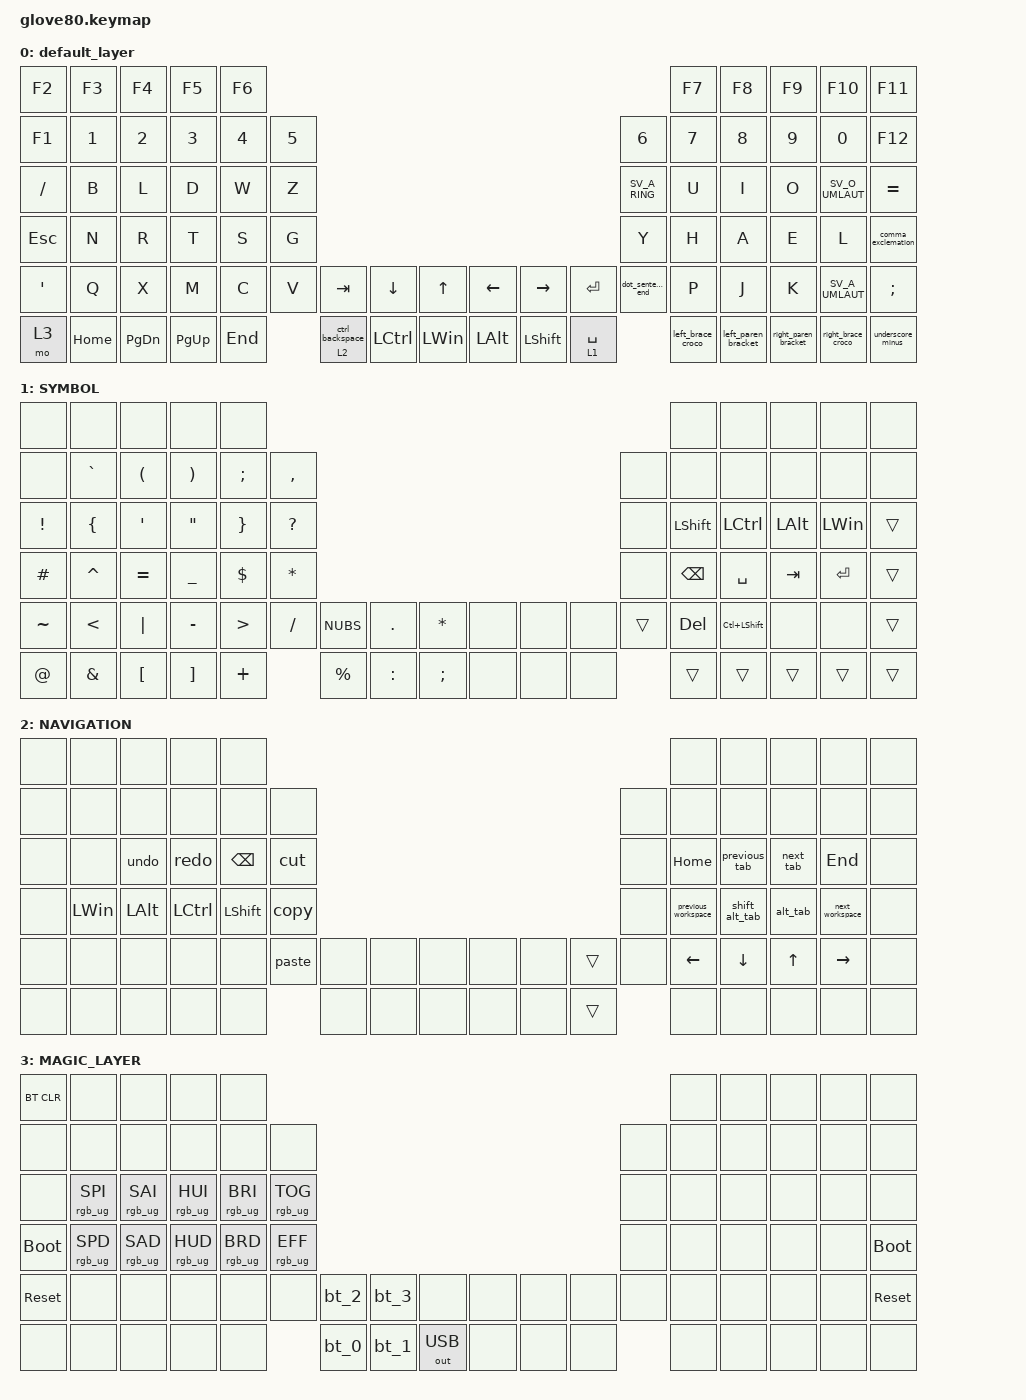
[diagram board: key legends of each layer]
/*
 * Copyright (c) 2020 The ZMK Contributors
 *
 * SPDX-License-Identifier: MIT
 */

#include "keys_sv.h"
#include <behaviors.dtsi>
#include <dt-bindings/zmk/bt.h>
#include <dt-bindings/zmk/keys.h>
#include <dt-bindings/zmk/outputs.h>
#include <dt-bindings/zmk/rgb.h>

// layers

#define DEFAULT 0
#define LOWER 1
#define MAGIC 2

/ {
    behaviors {
        // For the "layer" key, it'd nice to be able to use it as either a shift or a toggle.
        // Configure it as a tap dance, so the first tap (or hold) is a &mo and the second tap is a &to

        layer_td: tap_dance_0 {
            compatible = "zmk,behavior-tap-dance";
            #binding-cells = <0>;
            tapping-term-ms = <200>;
            bindings = <&mo 0>, <&to 0>;
        };

        ctrl_backspace: ctrl_backspace {
            compatible = "zmk,behavior-mod-morph";
            label = "CTRL_BACKSPACE";
            bindings = <&kp LC(BACKSPACE)>, <&kp BACKSPACE>;

            #binding-cells = <0>;
            mods = <(MOD_LSFT)>;
        };

        dot_sentence_end: dot_sentence_end {
            compatible = "zmk,behavior-mod-morph";
            label = "DOT_SENTENCE_END";
            bindings = <&kp DOT>, <&sentence_end>;

            #binding-cells = <0>;
            mods = <(MOD_LSFT|MOD_LCTL)>;
        };

        backspace_nav: backspace_nav {
            compatible = "zmk,behavior-hold-tap";
            label = "BACKSPACE_NAV";
            bindings = <&mo>, <&ctrl_backspace>;

            #binding-cells = <2>;
            tapping-term-ms = <280>;
            hold-trigger-key-positions = <69>;
            flavor = "balanced";
            quick-tap-ms = <175>;
            require-prior-idle-ms = <150>;
            hold-trigger-on-release;
        };

        next_window_K: next_window_K {
            compatible = "zmk,behavior-mod-morph";
            label = "NEXT_WINDOW_K";
            bindings = <&kp K>, <&alt_tab>;

            #binding-cells = <0>;
            mods = <(MOD_LGUI)>;
        };

        previous_window_J: previous_window_J {
            compatible = "zmk,behavior-mod-morph";
            label = "PREVIOUS_WINDOW_J";
            bindings = <&kp J>, <&shift_alt_tab>;

            #binding-cells = <0>;
            mods = <(MOD_LGUI)>;
        };

        underscore_minus: underscore_minus {
            compatible = "zmk,behavior-mod-morph";
            label = "UNDERSCORE_MINUS";
            bindings = <&kp UNDERSCORE>, <&kp KP_MINUS>;

            #binding-cells = <0>;
            mods = <(MOD_LSFT)>;
        };

        parenthesis_previous_tab: parenthesis_previous_tab {
            compatible = "zmk,behavior-mod-morph";
            label = "PARENTHESIS_PREVIOUS_TAB";
            bindings = <&kp LPAR>, <&previous_tab>;

            #binding-cells = <0>;
            mods = <(MOD_LSFT)>;
        };

        parenthesis_next_tab: parenthesis_next_tab {
            compatible = "zmk,behavior-mod-morph";
            label = "PARENTHESIS_NEXT_TAB";
            bindings = <&kp RPAR>, <&next_tab>;

            #binding-cells = <0>;
            mods = <(MOD_LSFT)>;
        };

        comma_exclemation: comma_exclemation {
            compatible = "zmk,behavior-mod-morph";
            label = "COMMA_EXCLEMATION";
            bindings = <&kp COMMA>, <&kp EXCLAMATION>;

            #binding-cells = <0>;
            mods = <(MOD_LSFT)>;
        };

        previous_window_bracket: previous_window_bracket {
            compatible = "zmk,behavior-mod-morph";
            label = "PREVIOUS_WINDOW_BRACKET";
            bindings = <&kp LEFT_BRACE>, <&previous_window_J>;

            #binding-cells = <0>;
            mods = <(MOD_LSFT)>;
        };

        left_paren_bracket: left_paren_bracket {
            compatible = "zmk,behavior-mod-morph";
            label = "LEFT_PAREN_BRACKET";
            bindings = <&kp LPAR>, <&kp LBKT>;

            #binding-cells = <0>;
            mods = <(MOD_LCTL|MOD_LSFT)>;
        };

        right_paren_bracket: right_paren_bracket {
            compatible = "zmk,behavior-mod-morph";
            label = "RIGHT_PAREN_BRACKET";
            bindings = <&kp RPAR>, <&kp RBKT>;

            #binding-cells = <0>;
            mods = <(MOD_LSFT|MOD_LCTL)>;
        };

        left_brace_croco: left_brace_croco {
            compatible = "zmk,behavior-mod-morph";
            label = "LEFT_BRACE_CROCO";
            bindings = <&kp LBRC>, <&kp LT>;

            #binding-cells = <0>;
            mods = <(MOD_LSFT|MOD_LCTL)>;
        };

        right_brace_croco: right_brace_croco {
            compatible = "zmk,behavior-mod-morph";
            label = "RIGHT_BRACE_CROCO";
            bindings = <&kp RBRC>, <&kp GT>;

            #binding-cells = <0>;
            mods = <(MOD_LSFT|MOD_LCTL)>;
        };
    };

    macros {
        bt_0: bt_profile_macro_0 {
            compatible = "zmk,behavior-macro";
            #binding-cells = <0>;
            bindings = <&out OUT_BLE &bt BT_SEL 0>;
        };

        bt_1: bt_profile_macro_1 {
            compatible = "zmk,behavior-macro";
            #binding-cells = <0>;
            bindings = <&out OUT_BLE &bt BT_SEL 1>;
        };

        bt_2: bt_profile_macro_2 {
            compatible = "zmk,behavior-macro";
            #binding-cells = <0>;
            bindings = <&out OUT_BLE &bt BT_SEL 2>;
        };

        bt_3: bt_profile_macro_3 {
            compatible = "zmk,behavior-macro";
            #binding-cells = <0>;
            bindings = <&out OUT_BLE &bt BT_SEL 3>;
        };

        sentence_end: sentence_end {
            compatible = "zmk,behavior-macro";
            #binding-cells = <0>;
            bindings = <&kp DOT &kp SPACE &sk LEFT_SHIFT>;
            label = "SENTENCE_END";
        };

        alt_tab: alt_tab {
            compatible = "zmk,behavior-macro";
            #binding-cells = <0>;
            bindings = <&kp LEFT_ALT &kp TAB>;
            label = "ALT_TAB";
        };

        shift_alt_tab: shift_alt_tab {
            compatible = "zmk,behavior-macro";
            #binding-cells = <0>;
            bindings = <&kp LEFT_SHIFT &kp LEFT_ALT &kp TAB>;
            label = "SHIFT_ALT_TAB";
        };

        copy: copy {
            compatible = "zmk,behavior-macro";
            #binding-cells = <0>;
            bindings = <&kp LCTRL &kp C>;
            label = "COPY";
        };

        cut: cut {
            compatible = "zmk,behavior-macro";
            #binding-cells = <0>;
            bindings = <&kp LCTRL &kp X>;
            label = "CUT";
        };

        paste: paste {
            compatible = "zmk,behavior-macro";
            #binding-cells = <0>;
            bindings = <&kp LCTRL &kp V>;
            label = "PASTE";
        };

        undo: undo {
            compatible = "zmk,behavior-macro";
            #binding-cells = <0>;
            bindings = <&kp LCTRL &kp Z>;
            label = "UNDO";
        };

        redo: redo {
            compatible = "zmk,behavior-macro";
            #binding-cells = <0>;
            bindings = <&kp LCTRL &kp Y>;
            label = "REDO";
        };

        next_workspace: next_workspace {
            compatible = "zmk,behavior-macro";
            #binding-cells = <0>;
            bindings = <&kp LCTRL &kp LEFT_WIN &kp RIGHT>;
            label = "NEXT_WORKSPACE";
        };

        previous_workspace: previous_workspace {
            compatible = "zmk,behavior-macro";
            #binding-cells = <0>;
            bindings = <&kp LCTRL &kp LEFT_WIN &kp LEFT_ARROW>;
            label = "PREVIOUS_WORKSPACE";
        };

        next_tab: next_tab {
            compatible = "zmk,behavior-macro";
            #binding-cells = <0>;
            bindings = <&kp LCTRL &kp TAB>;
            label = "NEXT_TAB";
        };

        previous_tab: previous_tab {
            compatible = "zmk,behavior-macro";
            #binding-cells = <0>;
            bindings = <&kp LCTRL &kp LEFT_SHIFT &kp TAB>;
            label = "PREVIOUS_TAB";
        };
    };

    keymap {
        compatible = "zmk,keymap";

        default_layer {
            // ---------------------------------------------------------------------------------------------------------------------------------
            // |  F1   |  F2 |  F3 |  F4  |  F5  |                                                               |  F6   |  F7   |  F8  |   F9  |  F10 |
            // |  =    |  1  |  2  |  3   |  4   |  5   |                                                 |  6   |   7   |   8   |  9   |   0   |   -  |
            // |  TAB  |  Q  |  W  |  E   |  R   |  T   |                                                 |  Y   |   U   |   I   |  O   |   P   |   \  |
            // |  ESC  |  A  |  S  |  D   |  F   |  G   |                                                 |  H   |   J   |   K   |  L   |   ;   |   '  |
            // |   `   |  Z  |  X  |  C   |  V   |  B   | LSHFT | LCTRL | LOWER | | LGUI  | RCTRL | RSHFT |  N   |   M   |   ,   |  .   |   /   | PGUP |
            // | MAGIC | HOME| END | LEFT | RIGHT|      | BSPC  | DEL   | LALT  | | RALT  | RET   | SPACE |      |  UP   | DOWN  |  [   |   ]   | PGDN |

            bindings = <
&kp F2            &kp F3        &kp F4         &kp F5       &kp F6                                                                                                                                 &kp F7             &kp F8               &kp F9                &kp F10             &kp F11
&kp F1            &kp NUMBER_1  &kp N2         &kp N3       &kp N4   &kp N5                                                                                                     &kp N6             &kp N7             &kp N8               &kp N9                &kp N0              &kp F12
&kp SLASH         &kp B         &kp L          &kp D        &kp W    &kp Z                                                                                                      &kp SV_A_RING      &kp U              &kp I                &kp O                 &kp SV_O_UMLAUT     &kp EQUAL
&kp ESC           &kp N         &kp R          &kp T        &kp S    &kp G                                                                                                      &kp Y              &kp H              &kp A                &kp E                 &kp L               &comma_exclemation
&kp SINGLE_QUOTE  &kp Q         &kp X          &kp M        &kp C    &kp V   &kp TAB             &kp DOWN          &kp UP          &kp LEFT_ARROW  &kp RIGHT       &kp ENTER    &dot_sentence_end  &kp P              &kp J                &kp K                 &kp SV_A_UMLAUT     &kp SEMI
&mo 3             &kp HOME      &kp PAGE_DOWN  &kp PAGE_UP  &kp END          &backspace_nav 2 0  &kp LEFT_CONTROL  &kp LEFT_WIN    &kp LEFT_ALT    &kp LEFT_SHIFT  &lt 1 SPACE                     &left_brace_croco  &left_paren_bracket  &right_paren_bracket  &right_brace_croco  &underscore_minus
            >;
        };

        SYMBOL {
            bindings = <
&none      &none      &none      &none           &none                                                                                   &none           &none               &none         &none         &none
&none      &kp GRAVE  &kp LPAR   &kp RPAR        &kp SEMI    &kp COMMA                                                           &none   &none           &none               &none         &none         &none
&kp EXCL   &kp LBRC   &kp APOS   &kp DQT         &kp RBRC    &kp QMARK                                                           &none   &kp LEFT_SHIFT  &kp LCTRL           &kp LEFT_ALT  &kp LEFT_WIN  &trans
&kp POUND  &kp CARET  &kp EQUAL  &kp UNDERSCORE  &kp DOLLAR  &kp STAR                                                            &none   &kp BACKSPACE   &kp SPACE           &kp TAB       &kp ENTER     &trans
&kp TILDE  &kp LT     &kp PIPE   &kp MINUS       &kp GT      &kp FSLH   &kp NUBS     &kp DOT    &kp STAR    &none  &none  &none  &trans  &kp DELETE      &kp LC(LEFT_SHIFT)  &none         &none         &trans
&kp AT     &kp AMPS   &kp LBKT   &kp RBKT        &kp PLUS               &kp PERCENT  &kp COLON  &kp SEMI    &none  &none  &none          &trans          &trans              &trans        &trans        &trans
            >;
        };

        NAVIGATION {
            bindings = <
&none  &none         &none         &none      &none                                                                       &none                &none           &none         &none            &none
&none  &none         &none         &none      &none           &none                                                &none  &none                &none           &none         &none            &none
&none  &none         &undo         &redo      &kp BACKSPACE   &cut                                                 &none  &kp HOME             &previous_tab   &next_tab     &kp END          &none
&none  &kp LEFT_WIN  &kp LEFT_ALT  &kp LCTRL  &kp LEFT_SHIFT  &copy                                                &none  &previous_workspace  &shift_alt_tab  &alt_tab      &next_workspace  &none
&none  &none         &none         &none      &none           &paste  &none  &none  &none    &none  &none  &trans  &none  &kp LEFT_ARROW       &kp DOWN        &kp UP_ARROW  &kp RIGHT        &none
&none  &none         &none         &none      &none                   &none  &none  &none    &none  &none  &trans         &none                &none           &none         &none            &none
            >;
        };

        MAGIC_LAYER {
            bindings = <
&bt BT_CLR   &none            &none            &none            &none                                                                                       &none  &none  &none  &none  &none
&none        &none            &none            &none            &none            &none                                                               &none  &none  &none  &none  &none  &none
&none        &rgb_ug RGB_SPI  &rgb_ug RGB_SAI  &rgb_ug RGB_HUI  &rgb_ug RGB_BRI  &rgb_ug RGB_TOG                                                     &none  &none  &none  &none  &none  &none
&bootloader  &rgb_ug RGB_SPD  &rgb_ug RGB_SAD  &rgb_ug RGB_HUD  &rgb_ug RGB_BRD  &rgb_ug RGB_EFF                                                     &none  &none  &none  &none  &none  &bootloader
&sys_reset   &none            &none            &none            &none            &none            &bt_2  &bt_3  &none           &none  &none  &none  &none  &none  &none  &none  &none  &sys_reset
&none        &none            &none            &none            &none                             &bt_0  &bt_1  &out OUT_USB    &none  &none  &none         &none  &none  &none  &none  &none
            >;
        };
    };
};
